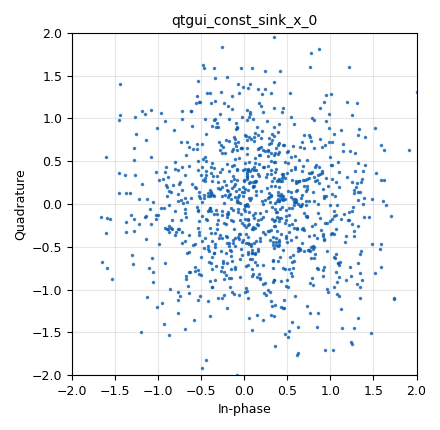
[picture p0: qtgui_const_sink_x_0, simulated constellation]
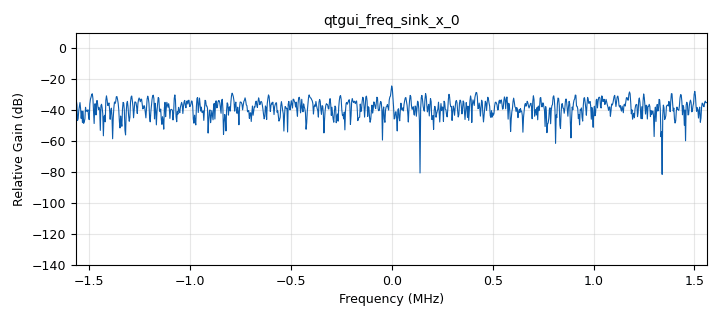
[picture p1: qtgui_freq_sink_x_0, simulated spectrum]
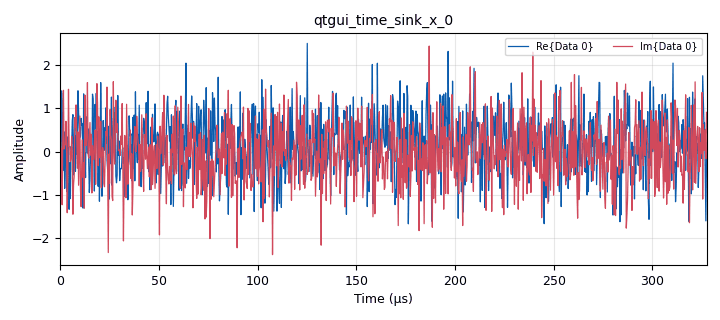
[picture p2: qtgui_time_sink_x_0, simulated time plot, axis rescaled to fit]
options:
  parameters:
    author: lab comu2 grupo 5
    generate_options: qt_gui
    id: Modulacion_ASK_M_ARIA
    output_language: python
    title: Sindy Chapeta, Diego Calderon
  states: {}

blocks:
- name: Ac
  id: variable_qtgui_range
  parameters:
    label: ceficiente
    start: '0'
    step: '100e-3'
    stop: '2'
    value: '100e-3'
  states: {}
- name: B
  id: variable_qtgui_range
  parameters:
    label: '# de muestras por simbolo'
    start: '1'
    step: '1'
    stop: '20'
    value: '10'
  states: {}
- name: Dc
  id: variable_qtgui_range
  parameters:
    label: nivel de señal modulante
    start: '-8'
    step: '100e-3'
    stop: '8'
    value: '0'
  states: {}
- name: GTX
  id: variable_qtgui_range
  parameters:
    label: ganancia del TX
    start: '0'
    step: '1'
    stop: '30'
    value: '0'
  states: {}
- name: 'No'
  id: variable_qtgui_range
  parameters:
    label: Amplitud ruido
    start: '0'
    step: '10e-3'
    stop: '100e-3'
    value: '100e-3'
  states: {}
- name: fc
  id: variable_qtgui_range
  parameters:
    label: frecuencia de portadora
    start: 50e6
    step: 1e6
    stop: 2200e6
    value: 50e6
  states: {}
- name: interpolation
  id: variable_qtgui_range
  parameters:
    start: '10'
    step: '10'
    stop: '100'
    value: '10'
  states: {}
- name: ka
  id: variable_qtgui_range
  parameters:
    start: '0'
    step: '100e-3'
    stop: '2'
    value: '100e-3'
  states: {}
- name: n
  id: variable_qtgui_range
  parameters:
    label: niveles por muestra
    start: '1'
    step: '1'
    stop: '4'
    value: '2'
  states: {}
- name: samp_rate
  id: variable
  parameters:
    value: 12.5e6/4
  states: {}
- name: analog_noise_source_x_0
  id: analog_noise_source_x
  parameters:
    amp: '1'
    noise_type: analog.GR_GAUSSIAN
    seed: '0'
    type: complex
  states: {}
- name: analog_random_source_x_0
  id: analog_random_source_x
  parameters:
    max: '2'
    min: '0'
    num_samps: '100000'
    repeat: 'True'
    type: byte
  states: {}
- name: blocks_add_const_vxx_0
  id: blocks_add_const_vxx
  parameters:
    const: '1'
    type: float
  states: {}
- name: blocks_add_xx_0
  id: blocks_add_xx
  parameters:
    type: complex
  states: {}
- name: blocks_float_to_complex_0
  id: blocks_float_to_complex
  parameters: {}
  states: {}
- name: blocks_multiply_const_vxx_0
  id: blocks_multiply_const_vxx
  parameters:
    const: ka
    type: float
  states: {}
- name: blocks_multiply_const_vxx_0_0
  id: blocks_multiply_const_vxx
  parameters:
    const: Ac
    type: complex
  states: {}
- name: blocks_null_source_0
  id: blocks_null_source
  parameters:
    type: float
  states: {}
- name: blocks_repeat_0
  id: blocks_repeat
  parameters:
    interp: interpolation
    type: float
  states: {}
- name: blocks_uchar_to_float_0
  id: blocks_uchar_to_float
  parameters: {}
  states: {}
- name: qtgui_const_sink_x_0
  id: qtgui_const_sink_x
  parameters:
    size: '1024'
    type: complex
  states: {}
- name: qtgui_freq_sink_x_0
  id: qtgui_freq_sink_x
  parameters:
    bw: samp_rate
    fc: '0'
    fftsize: '1024'
    type: complex
  states: {}
- name: qtgui_time_sink_x_0
  id: qtgui_time_sink_x
  parameters:
    size: '1024'
    srate: samp_rate
    type: complex
  states: {}
- name: uhd_usrp_sink_0
  id: uhd_usrp_sink
  parameters:
    ant0: '"TX/RX"'
    center_freq0: '0'
    gain0: '0'
    samp_rate: samp_rate
    sync: sync
    type: fc32
  states: {}

connections:
- [analog_noise_source_x_0, '0', blocks_add_xx_0, '1']
- [analog_random_source_x_0, '0', blocks_uchar_to_float_0, '0']
- [blocks_add_const_vxx_0, '0', blocks_float_to_complex_0, '0']
- [blocks_add_xx_0, '0', qtgui_const_sink_x_0, '0']
- [blocks_add_xx_0, '0', qtgui_freq_sink_x_0, '0']
- [blocks_add_xx_0, '0', qtgui_time_sink_x_0, '0']
- [blocks_add_xx_0, '0', uhd_usrp_sink_0, '0']
- [blocks_float_to_complex_0, '0', blocks_multiply_const_vxx_0_0, '0']
- [blocks_multiply_const_vxx_0, '0', blocks_add_const_vxx_0, '0']
- [blocks_multiply_const_vxx_0_0, '0', blocks_add_xx_0, '0']
- [blocks_null_source_0, '0', blocks_float_to_complex_0, '1']
- [blocks_repeat_0, '0', blocks_multiply_const_vxx_0, '0']
- [blocks_uchar_to_float_0, '0', blocks_repeat_0, '0']

metadata:
  file_format: 1
